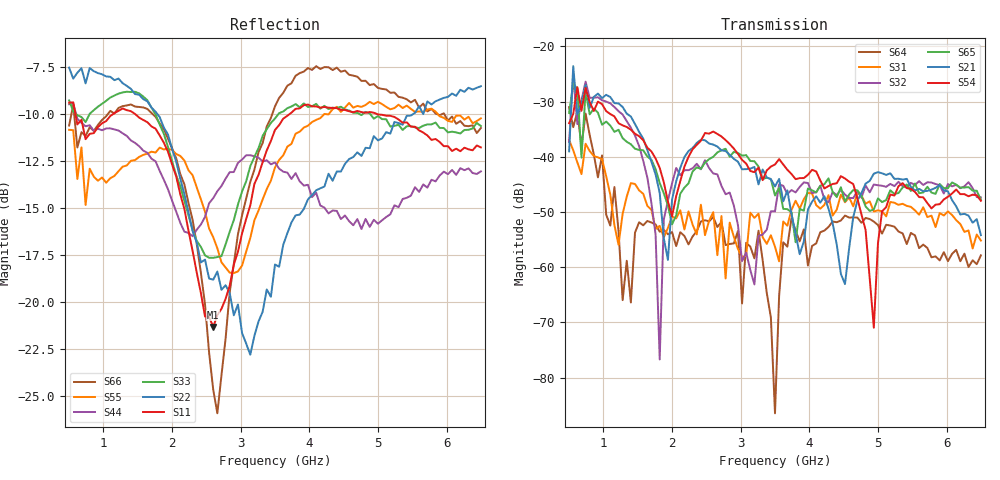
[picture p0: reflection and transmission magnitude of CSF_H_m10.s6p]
!Keysight Technologies,M9804A,MY58100912,A.14.10.03
!Date: Thursday, April 27, 2023 10:28:33
!Correction: S11(C  6-Port  )
!S12(C  6-Port  )
!S13(C  6-Port  )
!S14(C  6-Port  )
!S15(C  6-Port  )
!S16(C  6-Port  )
!S21(C  6-Port  )
!S22(C  6-Port  )
!S23(C  6-Port  )
!S24(C  6-Port  )
!S25(C  6-Port  )
!S26(C  6-Port  )
!S31(C  6-Port  )
!S32(C  6-Port  )
!S33(C  6-Port  )
!S34(C  6-Port  )
!S35(C  6-Port  )
!S36(C  6-Port  )
!S41(C  6-Port  )
!S42(C  6-Port  )
!S43(C  6-Port  )
!S44(C  6-Port  )
!S45(C  6-Port  )
!S46(C  6-Port  )
!S51(C  6-Port  )
!S52(C  6-Port  )
!S53(C  6-Port  )
!S54(C  6-Port  )
!S55(C  6-Port  )
!S56(C  6-Port  )
!S61(C  6-Port  )
!S62(C  6-Port  )
!S63(C  6-Port  )
!S64(C  6-Port  )
!S65(C  6-Port  )
!S66(C  6-Port  )
!S6P File: Measurement: :
# Hz S  RI  R 50
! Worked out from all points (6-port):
!   101 points, 500 MHz to 6.5 GHz, reference 50 ohm
!   strongest paths, dB at 500 MHz, 2 GHz, 3.5 GHz, 5 GHz, 6.5 GHz:
!     S54: -33.9, -50.8, -41.4, -55.7, -48.0
!     S21: -39.0, -47.7, -45.4, -42.8, -54.2
!     S65: -32.1, -52.2, -47.0, -47.6, -47.8
!     S32: -37.4, -44.8, -49.9, -45.2, -47.4
!     S31: -37.0, -50.9, -56.3, -49.7, -55.2
!     S64: -31.0, -53.7, -86.5, -52.4, -57.9
!   lowest |S11| = -21.3 dB at 2.6 GHz (marker M1), VSWR 1.19, Z = 42.4 + j2.3 ohm
!   |S11| at or under -10 dB: 592.3 MHz to 1.137 GHz (544.2 MHz wide, 63 % of centre); 1.466 GHz to 3.709 GHz (2.244 GHz wide, 86.7 % of centre); 4.994 GHz to end of sweep
